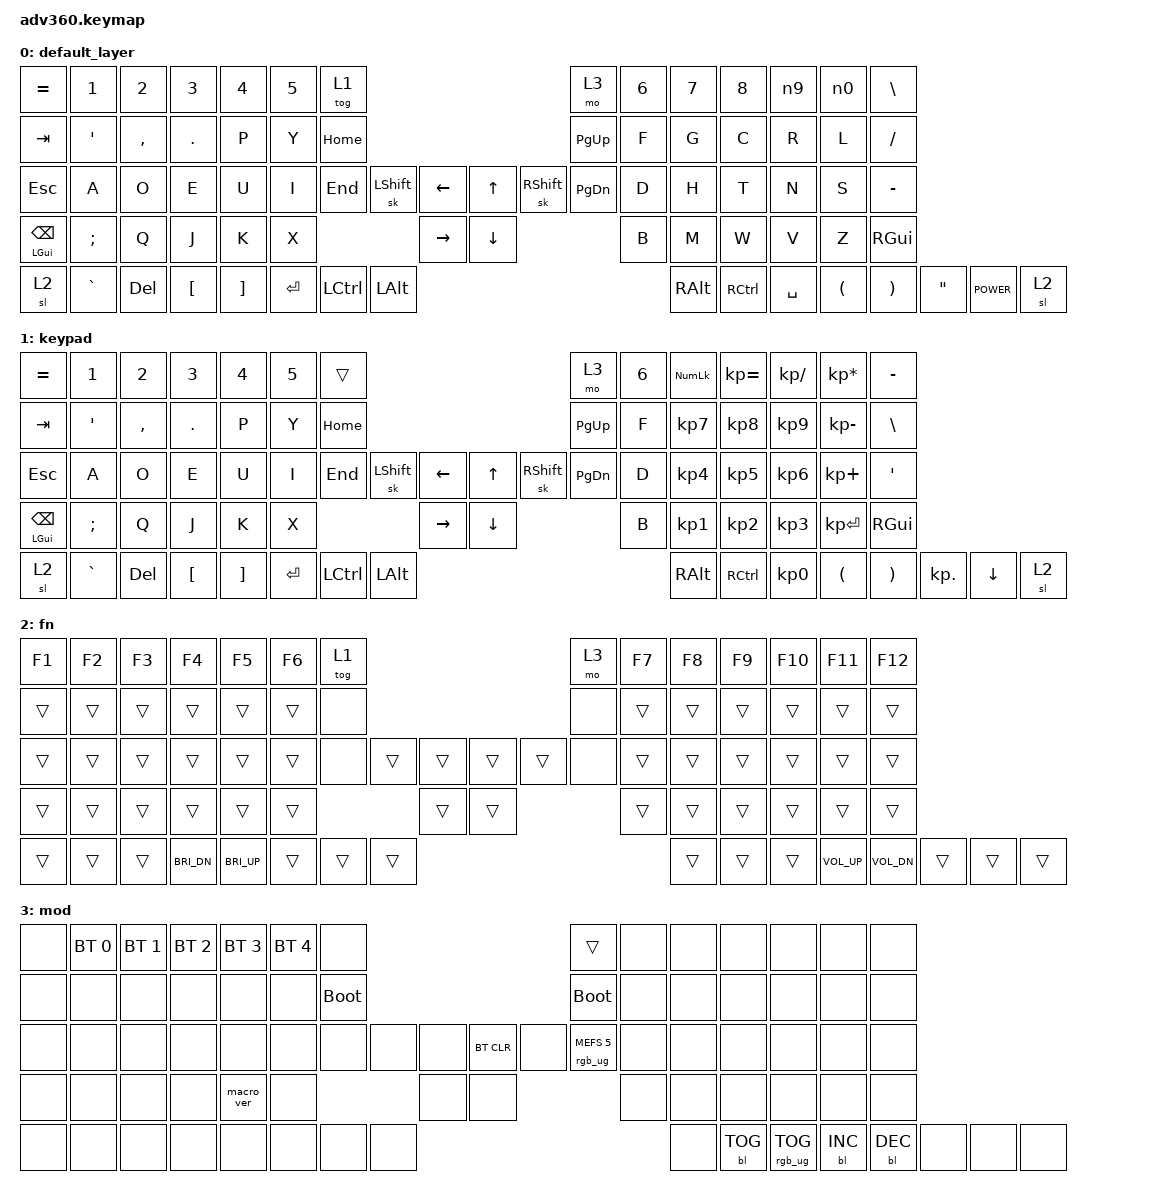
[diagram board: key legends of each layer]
#include <behaviors.dtsi>
#include <dt-bindings/zmk/keys.h>
#include <dt-bindings/zmk/bt.h>
#include <dt-bindings/zmk/rgb.h>
#include <dt-bindings/zmk/backlight.h>

/ {
    behaviors {
      #include "macros.dtsi"
      #include "version.dtsi"
      #ifndef VERSION_MACRO
      macro_ver: macro_ver {
        compatible = "zmk,behavior-macro";
        label = "macro_version";
        #binding-cells = <0>;
        bindings = <&kp RET>;
      };
      #endif

      hm: homerow_mods {
          compatible = "zmk,behavior-hold-tap";
          label = "HOMEROW_MODS";
          #binding-cells = <2>;
          tapping-term-ms = <200>;
          quick_tap_ms = <175>;
          flavor = "tap-preferred";
          bindings = <&kp>, <&kp>;
      };

      n9: n9 {
          compatible = "zmk,behavior-mod-morph";
          #binding-cells = <0>;
          bindings = <&kp N9>, <&kp CAPS>;
          mods = <(MOD_LSFT|MOD_RSFT)>;
      };

      n0: n0 {
          compatible = "zmk,behavior-mod-morph";
          #binding-cells = <0>;
          bindings = <&kp N0>, <&kp C_MUTE>;
          mods = <(MOD_LSFT|MOD_RSFT)>;
      };
    };

  keymap {
    compatible = "zmk,keymap";

    default_layer {
      bindings = <
        &kp EQUAL &kp N1    &kp N2   &kp N3   &kp N4     &kp N5 &tog 1                                                           &mo 3 &kp N6 &kp N7 &kp N8    &n9   &n0   &kp BSLH
        &kp TAB   &kp SQT     &kp COMMA    &kp DOT    &kp P      &kp Y  &kp HOME                                                            &kp PG_UP &kp F  &kp G  &kp C     &kp R    &kp L    &kp FSLH
        &kp ESC   &kp A     &kp O    &kp E    &kp U      &kp I  &kp END           &sk LSHFT &kp LEFT &kp UP  &sk RSHFT           &kp PG_DN &kp D  &kp H  &kp T     &kp N    &kp S &kp MINUS
        &mt LGUI BACKSPACE &kp SEMI     &kp Q    &kp J    &kp K      &kp X                            &kp RIGHT &kp DOWN                           &kp B  &kp M  &kp W &kp V  &kp Z &kp RGUI
        &sl 2     &kp GRAVE &kp DEL &kp LBKT &kp RBKT                &kp RET &kp LCTRL   &kp LALT  &kp RALT &kp RCTRL &kp SPACE              &kp LPAR &kp RPAR  &kp DQT &kp K_POWER &sl 2
      >;
    };
    keypad {
      bindings = <
        &kp EQUAL &kp N1    &kp N2   &kp N3   &kp N4     &kp N5 &trans                                                           &mo 3 &kp N6 &kp KP_NUM &kp KP_EQUAL &kp KP_DIVIDE &kp KP_MULTIPLY &kp MINUS
        &kp TAB   &kp SQT     &kp COMMA    &kp DOT    &kp P      &kp Y  &kp HOME                                                            &kp PG_UP &kp F  &kp KP_N7  &kp KP_N8    &kp KP_N9     &kp KP_MINUS    &kp BSLH
        &kp ESC   &kp A     &kp O    &kp E    &kp U      &kp I  &kp END           &sk LSHFT &kp LEFT &kp UP  &sk RSHFT           &kp PG_DN &kp D  &kp KP_N4  &kp KP_N5    &kp KP_N6     &kp KP_PLUS     &kp SQT
        &mt LGUI BACKSPACE &kp SEMI     &kp Q    &kp J    &kp K      &kp X                            &kp RIGHT &kp DOWN                           &kp B  &kp KP_N1  &kp KP_N2    &kp KP_N3     &kp KP_ENTER    &kp RGUI
        &sl 2     &kp GRAVE &kp DEL &kp LBKT &kp RBKT                &kp RET &kp LCTRL   &kp LALT  &kp RALT &kp RCTRL &kp KP_N0              &kp LPAR     &kp RPAR     &kp KP_DOT    &kp DOWN        &sl 2
      >;
    };
    fn {
      bindings = <
        &kp F1 &kp F2 &kp F3 &kp F4 &kp F5 &kp F6 &tog 1                                           &mo 3 &kp F7 &kp F8 &kp F9 &kp F10 &kp F11 &kp F12
        &trans &trans &trans &trans &trans &trans  &none                                           &none &trans &trans &trans &trans  &trans  &trans
        &trans &trans &trans &trans &trans &trans  &none        &trans &trans &trans &trans        &none &trans &trans &trans &trans  &trans  &trans
        &trans &trans &trans &trans &trans &trans                      &trans &trans                     &trans &trans &trans &trans  &trans  &trans
        &trans &trans &trans &kp C_BRI_DN &kp C_BRI_UP               &trans &trans &trans &trans &trans &trans              &kp C_VOL_UP &kp C_VOL_DN &trans  &trans  &trans
      >;
    };
    mod {
      bindings = <
        &none &bt BT_SEL 0 &bt BT_SEL 1 &bt BT_SEL 2 &bt BT_SEL 3 &bt BT_SEL 4 &none                                                                     &trans                 &none        &none        &none        &none &none &none
        &none &none        &none        &none        &none        &none        &bootloader                                                               &bootloader            &none        &none        &none        &none &none &none
        &none &none        &none        &none        &none        &none        &none                   &none &none &bt BT_CLR &none                      &rgb_ug RGB_MEFS_CMD 5 &none        &none        &none        &none &none &none
        &none &none        &none        &none        &macro_ver   &none                                      &none &none                                                        &none        &none        &none        &none &none &none
        &none &none        &none        &none        &none                                       &none &none &none &none      &bl BL_TOG &rgb_ug RGB_TOG                                     &bl BL_INC   &bl BL_DEC   &none &none &none
      >;
    };
  };
};
